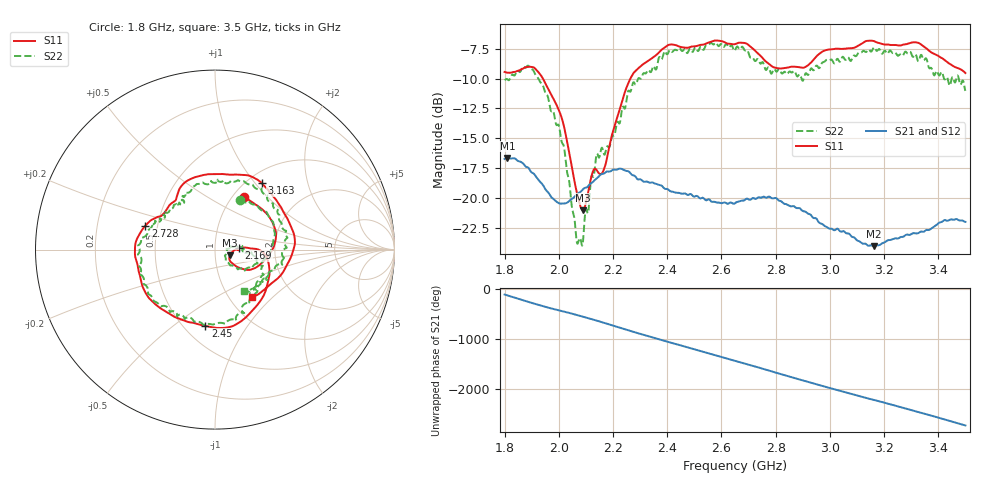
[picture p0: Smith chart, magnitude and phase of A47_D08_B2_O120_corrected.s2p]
! Created with skrf 1.9.0 (http://scikit-rf.org).
# Hz S RI R 50.0
!freq ReS11 ImS11 ReS21 ImS21 ReS12 ImS12 ReS22 ImS22
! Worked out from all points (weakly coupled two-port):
!   1601 points, 1.8 GHz to 3.5 GHz, reference 50 ohm
!   highest |S21| = -16.63 dB at 1.811 GHz (marker M1); lowest = -24.0 dB at 3.162 GHz (marker M2)
!   lowest |S11| = -21.0 dB at 2.09 GHz (marker M3), VSWR 1.20, Z = 59 - j3.76 ohm
!   |S11| at or under -10 dB: 1.941 GHz to 2.264 GHz (322.6 MHz wide, 15.3 % of centre)
!   |S22| runs from -24.0 to -7.0 dB; largest |S21 - S12| = 0.0028
!   S11 on the Smith chart (normalised r, x): 1.8 GHz: 1.12, +0.75; 2.169 GHz: 1.31, +0.03; 2.45 GHz: 0.63, -0.66; 2.728 GHz: 0.43, +0.14; 3.163 GHz: 1.16, +1.08; 3.5 GHz: 1.27, -0.75
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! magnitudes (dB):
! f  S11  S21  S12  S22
! 1.8 GHz  -9.4  -16.7  -16.7  -10.1
! 1.811 GHz  -9.5  -16.6  -16.6  -10.1
! 1.887 GHz  -9.0  -17.4  -17.5  -8.9
! 1.94 GHz  -10.0  -18.9  -18.9  -10.5
! 2.011 GHz  -13.3  -20.4  -20.4  -15.4
! 2.065 GHz  -19.3  -19.7  -19.7  -23.3
! 2.084 GHz  -20.9  -19.4  -19.4  -23.8
! 2.09 GHz  -21.0  -19.2  -19.3  -23.4
! 2.138 GHz  -17.6  -18.4  -18.4  -16.5
! 2.169 GHz  -17.4  -17.9  -17.9  -16.4
! 2.262 GHz  -10.1  -17.9  -17.9  -11.1
! 2.367 GHz  -7.9  -18.9  -18.8  -8.4
! 2.45 GHz  -7.4  -19.6  -19.6  -7.6
! 2.65 GHz  -7.1  -20.4  -20.4  -7.6
! 2.728 GHz  -7.7  -20.1  -20.1  -8.5
! 2.806 GHz  -9.1  -20.1  -20.1  -9.4
! 2.934 GHz  -8.6  -21.5  -21.5  -9.2
! 3.162 GHz  -6.9  -24.0  -24.0  -7.4
! 3.163 GHz  -6.9  -24.0  -24.0  -7.4
! 3.217 GHz  -7.2  -23.5  -23.5  -7.8
! 3.326 GHz  -7.0  -22.9  -22.9  -8.5
! 3.5 GHz  -9.5  -22.0  -22.0  -11.0
